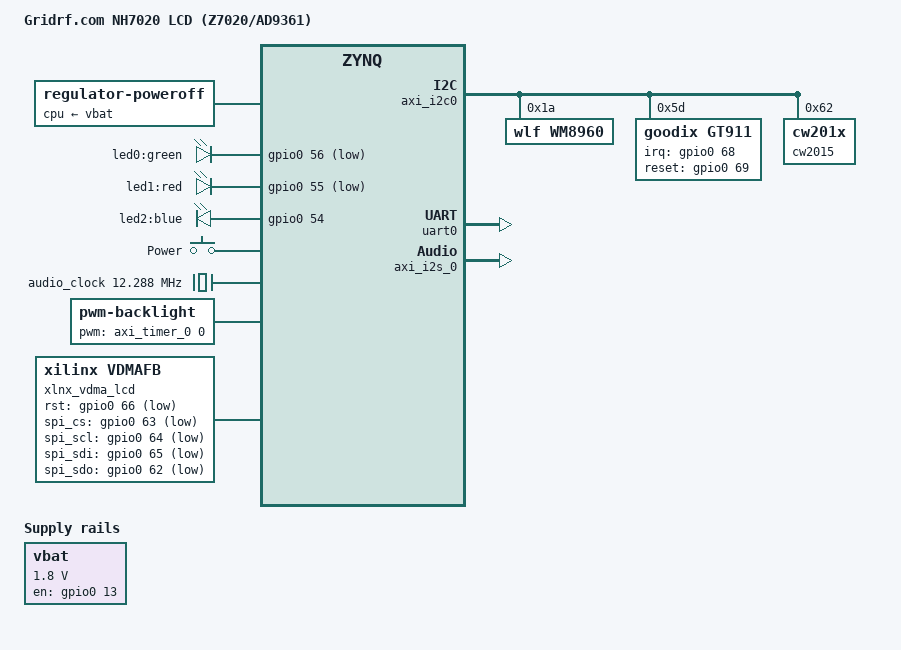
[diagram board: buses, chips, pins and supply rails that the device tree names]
/dts-v1/;
#include "zynq-nh7020.dtsi"
#include <dt-bindings/input/input.h>
#include <dt-bindings/gpio/gpio.h>
#include <dt-bindings/interrupt-controller/irq.h>

/ {
	model = "Gridrf.com NH7020 LCD (Z7020/AD9361)";
	chosen {
		stdout-path = "/amba@0/uart@E0000000";
	};
};

&axi_i2c0 {	
	wm8960: wm8960@1a {
		compatible = "wlf,wm8960";
		reg = <0x1a>;
		clocks = <&audio_clock>;
		clock-names = "mclk";
		wlf,shared-lrclk;
		#sound-dai-cells = <0>;
	}; 
	
	gt911@5d {
		compatible = "goodix,gt911";
		reg = <0x5d>;
		interrupt-parent = <&gpio0>;
		interrupts = <68 0>;

		irq-gpios = <&gpio0 68 0>;
		reset-gpios = <&gpio0 69 0>;
	};

	cw2015@62 {
		compatible = "cw201x";
		reg = <0x62>;
		bat_config_info = <0x15 0x42 0x60 0x59 0x52 0x58 0x4D 0x48 0x48 0x44 0x44 0x46 0x49 0x48 0x32 0x24 0x20 0x17 0x13 0x0F 0x19 0x3E 0x51 0x45 0x08 0x76 0x0B 0x85 0x0E 0x1C 0x2E 0x3E 0x4D 0x52 0x52 0x57 0x3D 0x1B 0x6A 0x2D 0x25 0x43 0x52 0x87 0x8F 0x91 0x94 0x52 0x82 0x8C 0x92 0x96 0xFF 0x7B 0xBB 0xCB 0x2F 0x7D 0x72 0xA5 0xB5 0xC1 0x46 0xAE>;
		monitor_sec = <5>;
		virtual_power = <0>;
		design_capacity = <3000>;
	};
};

/ {
	vbat: fixedregulator0 {
		compatible = "regulator-fixed";
		regulator-name = "bat";
		regulator-min-microvolt = <1800000>;
		regulator-max-microvolt = <1800000>;
		enable-active-high;
		regulator-boot-on;
		regulator-always-on;

		gpio = <&gpio0 13 GPIO_ACTIVE_HIGH>;
	};

	regulator-poweroff {
		compatible = "regulator-poweroff";
		cpu-supply = <&vbat>;
	};

	leds {
		compatible = "gpio-leds";
		led0 {
			label = "led0:green";
			gpios = <&gpio0 56 1>;
			};

		led1 {
			label = "led1:red";
			gpios = <&gpio0 55 1>;
		};

		led2 {
			label = "led2:blue";
			gpios = <&gpio0 54 0>;
		};
	};
	
	gpio-keys-power {
		compatible = "gpio-keys";
		#address-cells = <1>;
		#size-cells = <0>;
		interrupt-parent = <&gpio0>;
		autorepeat;
		
		s1 {
			label = "Power";
			linux,code = <KEY_POWER>;
			interrupts = <10 IRQ_TYPE_EDGE_FALLING>;
			debounce-interval = <10>;
			gpio-key,wakeup;
		};

	};


	audio_clock: audio_clock {
		compatible = "fixed-clock";
		#clock-cells = <0>;
		clock-frequency = <12288000>;
	};

	nh7020_sound {
		compatible = "simple-audio-card";
		simple-audio-card,name = "NH7020 AUDIO";
		simple-audio-card,format = "i2s";
		
		simple-audio-card,widgets =
			"Microphone", "Mic Jack",
			"Speaker", "Speaker",
			"Headphone", "Headphone Jack";

		simple-audio-card,routing =
			"Headphone Jack", "HP_L",
			"Headphone Jack", "HP_R",
			"Speaker", "SPK_LP",
			"Speaker", "SPK_LN",
			"Speaker", "SPK_RP",
			"Speaker", "SPK_RN",
                	"RINPUT1", "Mic Jack",
                	"RINPUT2", "Mic Jack";

		simple-audio-card,dai-link@0 {
			format = "i2s";
			cpu {
				sound-dai = <&axi_i2s_0>;
				frame-master;
				bitclock-master;
			};
			codec {
				sound-dai = <&wm8960>;
			};
		};
	};

	video_timings {
             timing_4x3_480x800: timing0 {
                 clock-frequency = <33000000>;
                 hactive = <480>;
                 vactive = <800>;

                 hback-porch = <32>;
                 hsync-len = <3>;
                 hfront-porch = <13>;
                 vback-porch = <88>;
                 vsync-len = <48>;
                 vfront-porch = <40>;

                 hsync-active = <0>;
                 vsync-active = <0>;
                 de-active = <1>;
                 pixelclk-active = <0>;
             };

             timing_4x3_800x480: timing1 {
                     clock-frequency = <33000000>;
                     hactive = <800>;
                     vactive = <480>;

                     hback-porch = <88>;
                     hsync-len = <48>;
                     hfront-porch = <40>;
                     vback-porch = <32>;
                     vsync-len = <3>;
                     vfront-porch = <13>;

                     hsync-active = <0>;
                     vsync-active = <0>;
                     de-active = <1>;
                     pixelclk-active = <0>;
             };

             timing_7_800x480: timing2 {
                     clock-frequency = <33000000>;
                     hactive = <800>;
                     vactive = <480>;

                     hback-porch = <46>;
                     hsync-len = <20>;
                     hfront-porch = <210>;
                     vback-porch = <23>;
                     vsync-len = <3>;
                     vfront-porch = <22>;

                     hsync-active = <0>;
                     vsync-active = <0>;
                     de-active = <1>;
                     pixelclk-active = <0>;
             };

         };
};

&uart0 {
	status = "okay";
};

&aliases {
	serial1 = &uart0;
};

&fpga_axi {
	axi_i2s_0: axi-i2s@77600000 {
		compatible = "adi,axi-i2s-1.00.a";
		reg = <0x77600000 0x1000>;
		dmas = <&dmac_s 0 &dmac_s 1>;
		dma-names = "tx", "rx";
		clocks = <&clkc 15>, <&audio_clock>;
		clock-names = "axi", "ref";

		#sound-dai-cells = <0>;
	};

		axi_timer_0: timer@42800000 {
			clock-frequency = <100000000>;
			#pwm-cells = <2>;
			clocks = <&clkc 15>;
			compatible = "xlnx,pwm-xlnx";
			reg = <0x42800000 0x10000>;
			xlnx,count-width = <0x20>;
			xlnx,gen0-assert = <0x1>;
			xlnx,gen1-assert = <0x1>;
			xlnx,one-timer-only = <0x0>;
			xlnx,trig0-assert = <0x1>;
			xlnx,trig1-assert = <0x1>;
		};

		v_tc_0: v_tc@43d00000 {
			clocks = <&clkc 15>;
			compatible = "xlnx,v-tc-5.01.a";
			reg = <0x43d00000 0x10000>;
		};

		axi_dynclk_0: axi_dynclk@43c00000 {
			clocks = <&clkc 15>;
			#clock-cells = <0>;
			reg = <0x43c00000 0x10000>;
			compatible = "digilent,axi-dynclk";
			xlnx,s00-axi-addr-width = <0x5>;
			xlnx,s00-axi-data-width = <0x20>;
		};

		axi_vdma_0: dma@43000000 {
			#dma-cells = <1>;
			clock-names = "s_axi_lite_aclk", "m_axi_mm2s_aclk", "m_axis_mm2s_aclk";
			clocks = <&clkc 15>, <&clkc 15>, <&clkc 15>;
			compatible = "xlnx,axi-vdma-6.3", "xlnx,axi-vdma-1.00.a";
			interrupt-names = "mm2s_introut";
			interrupt-parent = <&intc>;
			interrupts = <0 59 4>;
			reg = <0x43000000 0x1000>;
			xlnx,addrwidth = <0x20>;
			xlnx,flush-fsync = <0x1>;
			xlnx,num-fstores = <0x1>;
			dma-channel@43000000 {
				compatible = "xlnx,axi-vdma-mm2s-channel";
				interrupts = <0 59 4>;
				xlnx,datawidth = <0x18>;
				xlnx,device-id = <0x0>;
				xlnx,genlock-mode ;
			};
		};

};

/ {
		backlight {
	      		status = "okay";
	     		compatible = "pwm-backlight";
	        	pwms = <&axi_timer_0 0 1000000>;
	        	brightness-levels = <0 5 10 15 20 25 30 35 40 45 50 55 60 65 70 75 80 85 90 95 100
                                            105 110 115 120 125 130 135 140 145 150 155 160 165 170 175 180 185
                                            190 195 200 205 210 215 220 225 230 235 240 245 250>;
	      		default-brightness-level = <25>;       
	 	};

    		xlnx_vdma_lcd {
        		compatible = "xilinx,vdmafb";
        		status = "okay";

		        xlnx,vtc = <&v_tc_0>;
		        clocks = <&axi_dynclk_0>;
		        clock-names = "lcd_pclk";

			dmas = <&axi_vdma_0 0x0>;
			dma-names = "dma";	
	
		        is-hdmi = <0x0>;

		       	rst-gpios = <&gpio0 66 GPIO_ACTIVE_LOW>;
        
		        spi_cs = <&gpio0 63 GPIO_ACTIVE_LOW>;
		        spi_scl = <&gpio0 64 GPIO_ACTIVE_LOW>;
		        spi_sdi = <&gpio0 65 GPIO_ACTIVE_LOW>;
		       	spi_sdo = <&gpio0 62 GPIO_ACTIVE_LOW>;

		        display-timings = <&timing_4x3_480x800
		                   &timing_4x3_800x480
		                   &timing_7_800x480>;
		        xlnx,pixel-format = "rgb888";
    		};
};

